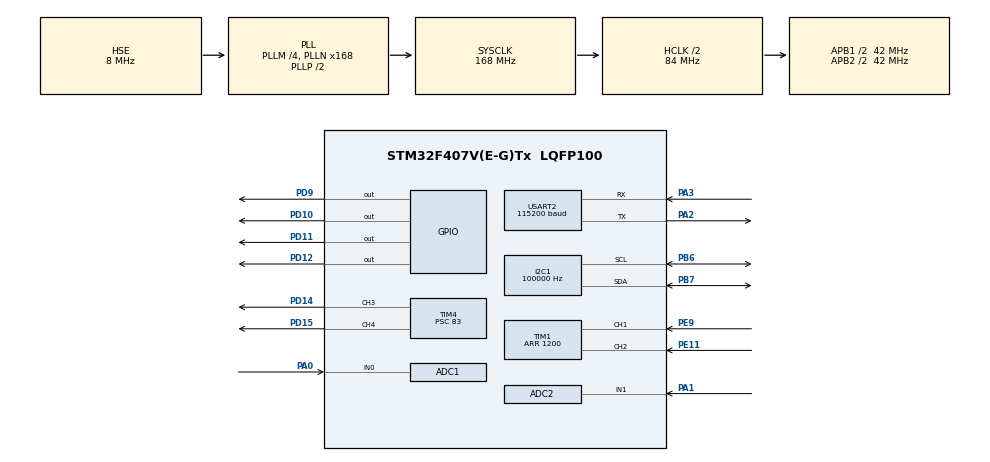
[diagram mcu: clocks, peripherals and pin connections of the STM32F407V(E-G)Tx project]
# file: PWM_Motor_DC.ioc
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ADC1.Channel-0\#ChannelRegularConversion=ADC_CHANNEL_0
ADC1.NbrOfConversionFlag=1
ADC1.Rank-0\#ChannelRegularConversion=1
ADC1.SamplingTime-0\#ChannelRegularConversion=ADC_SAMPLETIME_3CYCLES
ADC1.master=1
ADC2.Channel-1\#ChannelRegularConversion=ADC_CHANNEL_1
ADC2.NbrOfConversionFlag=1
ADC2.Rank-1\#ChannelRegularConversion=1
ADC2.SamplingTime-1\#ChannelRegularConversion=ADC_SAMPLETIME_3CYCLES
I2C1.ClockSpeed=100000
Mcu.Family=STM32F4
Mcu.Name=STM32F407V(E-G)Tx
Mcu.Package=LQFP100
NVIC.PriorityGroup=NVIC_PRIORITYGROUP_4
NVIC.TIM1_BRK_TIM9_IRQn=true\:0\:0\:false\:false\:true\:true\:true
NVIC.TIM3_IRQn=true\:0\:0\:false\:false\:true\:true\:true
NVIC.TIM4_IRQn=true\:0\:0\:false\:false\:true\:true\:true
NVIC.TIM6_DAC_IRQn=true\:0\:0\:false\:false\:true\:true\:true
NVIC.TIM7_IRQn=true\:0\:0\:false\:false\:true\:true\:true
NVIC.USART2_IRQn=true\:0\:0\:false\:false\:true\:true\:true
PA0-WKUP.Signal=ADCx_IN0
PA1.Signal=ADCx_IN1
PA2.GPIO_Speed=GPIO_SPEED_FREQ_HIGH
PA2.Mode=Asynchronous
PA2.Signal=USART2_TX
PA3.GPIO_Speed=GPIO_SPEED_FREQ_HIGH
PA3.Mode=Asynchronous
PA3.Signal=USART2_RX
PB6.Mode=I2C
PB6.Signal=I2C1_SCL
PB7.Mode=I2C
PB7.Signal=I2C1_SDA
PD10.GPIO_ModeDefaultOutputPP=GPIO_MODE_OUTPUT_OD
PD10.GPIO_PuPd=GPIO_PULLUP
PD10.GPIO_Speed=GPIO_SPEED_FREQ_HIGH
PD10.Signal=GPIO_Output
PD11.GPIO_ModeDefaultOutputPP=GPIO_MODE_OUTPUT_OD
PD11.GPIO_PuPd=GPIO_PULLUP
PD11.GPIO_Speed=GPIO_SPEED_FREQ_HIGH
PD11.Signal=GPIO_Output
PD12.GPIO_ModeDefaultOutputPP=GPIO_MODE_OUTPUT_OD
PD12.GPIO_PuPd=GPIO_PULLUP
PD12.GPIO_Speed=GPIO_SPEED_FREQ_HIGH
PD12.PinState=GPIO_PIN_SET
PD12.Signal=GPIO_Output
PD14.GPIO_PuPd=GPIO_PULLUP
PD14.GPIO_Speed=GPIO_SPEED_FREQ_HIGH
PD14.Signal=S_TIM4_CH3
PD15.GPIO_ModeDefaultPP=GPIO_MODE_AF_PP
PD15.GPIO_PuPd=GPIO_PULLUP
PD15.GPIO_Speed=GPIO_SPEED_FREQ_HIGH
PD15.Signal=S_TIM4_CH4
PD9.GPIO_ModeDefaultOutputPP=GPIO_MODE_OUTPUT_OD
PD9.GPIO_PuPd=GPIO_PULLUP
PD9.GPIO_Speed=GPIO_SPEED_FREQ_HIGH
PD9.PinState=GPIO_PIN_SET
PD9.Signal=GPIO_Output
PE11.GPIO_PuPd=GPIO_PULLUP
PE11.GPIO_Speed=GPIO_SPEED_FREQ_HIGH
PE11.Signal=S_TIM1_CH2
PE9.GPIO_PuPd=GPIO_PULLUP
PE9.GPIO_Speed=GPIO_SPEED_FREQ_HIGH
PE9.Signal=S_TIM1_CH1
PH0-OSC_IN.Mode=HSE-External-Oscillator
PH0-OSC_IN.Signal=RCC_OSC_IN
PH1-OSC_OUT.Mode=HSE-External-Oscillator
PH1-OSC_OUT.Signal=RCC_OSC_OUT
ProjectManager.HeapSize=0x200
ProjectManager.StackSize=0x400
ProjectManager.TargetToolchain=EWARM V7
RCC.48MHZClocksFreq_Value=84000000
RCC.AHBCLKDivider=RCC_SYSCLK_DIV2
RCC.AHBFreq_Value=84000000
RCC.APB1CLKDivider=RCC_HCLK_DIV2
RCC.APB1Freq_Value=42000000
RCC.APB1TimFreq_Value=84000000
RCC.APB2CLKDivider=RCC_HCLK_DIV2
RCC.APB2Freq_Value=42000000
RCC.APB2TimFreq_Value=84000000
RCC.CortexFreq_Value=10500000
RCC.Cortex_Div=SYSTICK_CLKSOURCE_HCLK_DIV8
RCC.HCLKFreq_Value=84000000
RCC.HSE_VALUE=8000000
RCC.HSI_VALUE=16000000
RCC.LSE_VALUE=32768
RCC.PLLM=4
RCC.PLLN=168
RCC.PLLSourceVirtual=RCC_PLLSOURCE_HSE
RCC.SYSCLKFreq_VALUE=168000000
RCC.SYSCLKSource=RCC_SYSCLKSOURCE_PLLCLK
RCC.VCOOutputFreq_Value=336000000
SH.ADCx_IN0.0=ADC1_IN0,IN0
SH.ADCx_IN1.0=ADC2_IN1,IN1
SH.S_TIM1_CH1.0=TIM1_CH1,Encoder_Interface
SH.S_TIM1_CH2.0=TIM1_CH2,Encoder_Interface
SH.S_TIM4_CH3.0=TIM4_CH3,PWM Generation3 CH3
SH.S_TIM4_CH4.0=TIM4_CH4,PWM Generation4 CH4
TIM1.Period=1200
TIM3.Period=5000
TIM3.Prescaler=8399
TIM4.Channel-PWM\ Generation3\ CH3=TIM_CHANNEL_3
TIM4.Channel-PWM\ Generation4\ CH4=TIM_CHANNEL_4
TIM4.Period=499
TIM4.Prescaler=83
TIM6.Period=999
TIM6.Prescaler=8399
TIM7.Period=99
TIM7.Prescaler=8399
TIM9.Period=9
TIM9.Prescaler=8399
USART2.BaudRate=115200
USART2.VirtualMode=VM_ASYNC
VP_TIM3_VS_ClockSourceINT.Mode=Internal
VP_TIM4_VS_ClockSourceINT.Mode=Internal
VP_TIM6_VS_ClockSourceINT.Mode=Enable_Timer
VP_TIM7_VS_ClockSourceINT.Mode=Enable_Timer
VP_TIM9_VS_ClockSourceINT.Mode=Internal
board=custom

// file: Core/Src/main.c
/* USER CODE BEGIN Header */

/**
 ******************************************************************************
 * @file           : main.c
 * @brief          : Main program body
 ******************************************************************************
 * @attention
 *
 * <h2><center>&copy; Copyright (c) 2021 STMicroelectronics.
 * All rights reserved.</center></h2>
 *
 * This software component is licensed by ST under BSD 3-Clause license,
 * the "License"; You may not use this file except in compliance with the
 * License. You may obtain a copy of the License at:
 *                        opensource.org/licenses/BSD-3-Clause
 *
 ******************************************************************************
 */
/* USER CODE END Header */
#include "main.h"

/* USER CODE BEGIN Includes */
#include "stdio.h"
#include "string.h"
#include "stdlib.h"
#include "uart_tx_rx.h"
/* USER CODE END Includes */

/* USER CODE BEGIN PD */
#define LCD_ADDR        (0x27 << 1)

#define PIN_RS          (1 << 0)
#define PIN_EN          (1 << 2)
#define BACKLIGHT       (1 << 3)

#define LCD_DELAY_MS    5
/* USER CODE END PD */

ADC_HandleTypeDef hadc1;
ADC_HandleTypeDef hadc2;

I2C_HandleTypeDef hi2c1;

TIM_HandleTypeDef htim1;
TIM_HandleTypeDef htim3;
TIM_HandleTypeDef htim4;
TIM_HandleTypeDef htim6;
TIM_HandleTypeDef htim7;
TIM_HandleTypeDef htim9;

UART_HandleTypeDef huart2;

/* USER CODE BEGIN PV */
extern uint8_t command[3];
/* USER CODE END PV */

void SystemClock_Config(void);
static void MX_GPIO_Init(void);
static void MX_TIM4_Init(void);
static void MX_ADC1_Init(void);
static void MX_TIM7_Init(void);
static void MX_I2C1_Init(void);
static void MX_TIM3_Init(void);
static void MX_USART2_UART_Init(void);
static void MX_TIM6_Init(void);
static void MX_TIM1_Init(void);
static void MX_ADC2_Init(void);
static void MX_TIM9_Init(void);

/* USER CODE BEGIN 0 */
void I2C_send(uint8_t data, uint8_t flags)
{
   HAL_StatusTypeDef res;

   for ( ; ;)
   {
      res = HAL_I2C_IsDeviceReady(&hi2c1, LCD_ADDR, 1, HAL_MAX_DELAY);
      if (res == HAL_OK)
      {
         break;
      }
   }
   uint8_t up = data & 0xF0;
   uint8_t lo = (data << 4) & 0xF0;
   uint8_t data_arr[4];
   data_arr[0] = up | flags | BACKLIGHT | PIN_EN;
   data_arr[1] = up | flags | BACKLIGHT;
   data_arr[2] = lo | flags | BACKLIGHT | PIN_EN;
   data_arr[3] = lo | flags | BACKLIGHT;
   HAL_I2C_Master_Transmit(&hi2c1, LCD_ADDR, data_arr, sizeof(data_arr),
                           HAL_MAX_DELAY);
}

void LCD_SendString(char *str)
{
   while (*str)
   {
      I2C_send((uint8_t)(*str), 1);
      str++;
   }
}

/* USER CODE END 0 */

int main(void)
{

  /* MCU Configuration--------------------------------------------------------*/

  /* Reset of all peripherals, Initializes the Flash interface and the Systick. */
  HAL_Init();

  /* Configure the system clock */
  SystemClock_Config();

  /* Initialize all configured peripherals */
  MX_GPIO_Init();
  MX_TIM4_Init();
  MX_ADC1_Init();
  MX_TIM7_Init();
  MX_I2C1_Init();
  MX_TIM3_Init();
  MX_USART2_UART_Init();
  MX_TIM6_Init();
  MX_TIM1_Init();
  MX_ADC2_Init();
  MX_TIM9_Init();
  /* USER CODE BEGIN 2 */
   //HAL_TIM_Base_Start_IT(&htim3);
   HAL_TIM_PWM_Start(&htim4, TIM_CHANNEL_3);
   HAL_TIM_PWM_Start(&htim4, TIM_CHANNEL_4);
   HAL_TIM_Base_Start_IT(&htim6);
   HAL_TIM_Base_Start_IT(&htim7);
   HAL_TIM_Base_Start_IT(&htim9);
   //HAL_TIM_Encoder_Start(&htim1, TIM_CHANNEL_1);
  /* USER CODE END 2 */

  /* Infinite loop */
  /* USER CODE BEGIN WHILE */
   HAL_UART_Receive_IT(&huart2, (uint8_t *)command, 2);
   /* USER CODE END 2 */
   while (1)
   {
    /* USER CODE END WHILE */

    /* USER CODE BEGIN 3 */
     //printf("%d\r\n", TIM1->CNT);
   }
  /* USER CODE END 3 */
}

void SystemClock_Config(void)
{
  RCC_OscInitTypeDef RCC_OscInitStruct = {0};
  RCC_ClkInitTypeDef RCC_ClkInitStruct = {0};

  /** Configure the main internal regulator output voltage
  */
  __HAL_RCC_PWR_CLK_ENABLE();
  __HAL_PWR_VOLTAGESCALING_CONFIG(PWR_REGULATOR_VOLTAGE_SCALE1);
  /** Initializes the RCC Oscillators according to the specified parameters
  * in the RCC_OscInitTypeDef structure.
  */
  RCC_OscInitStruct.OscillatorType = RCC_OSCILLATORTYPE_HSE;
  RCC_OscInitStruct.HSEState = RCC_HSE_ON;
  RCC_OscInitStruct.PLL.PLLState = RCC_PLL_ON;
  RCC_OscInitStruct.PLL.PLLSource = RCC_PLLSOURCE_HSE;
  RCC_OscInitStruct.PLL.PLLM = 4;
  RCC_OscInitStruct.PLL.PLLN = 168;
  RCC_OscInitStruct.PLL.PLLP = RCC_PLLP_DIV2;
  RCC_OscInitStruct.PLL.PLLQ = 4;
  if (HAL_RCC_OscConfig(&RCC_OscInitStruct) != HAL_OK)
  {
    Error_Handler();
  }
  /** Initializes the CPU, AHB and APB buses clocks
  */
  RCC_ClkInitStruct.ClockType = RCC_CLOCKTYPE_HCLK|RCC_CLOCKTYPE_SYSCLK
                              |RCC_CLOCKTYPE_PCLK1|RCC_CLOCKTYPE_PCLK2;
  RCC_ClkInitStruct.SYSCLKSource = RCC_SYSCLKSOURCE_PLLCLK;
  RCC_ClkInitStruct.AHBCLKDivider = RCC_SYSCLK_DIV2;
  RCC_ClkInitStruct.APB1CLKDivider = RCC_HCLK_DIV2;
  RCC_ClkInitStruct.APB2CLKDivider = RCC_HCLK_DIV2;

  if (HAL_RCC_ClockConfig(&RCC_ClkInitStruct, FLASH_LATENCY_2) != HAL_OK)
  {
    Error_Handler();
  }
}

static void MX_ADC1_Init(void)
{

  ADC_ChannelConfTypeDef sConfig = {0};

  /** Configure the global features of the ADC (Clock, Resolution, Data Alignment and number of conversion)
  */
  hadc1.Instance = ADC1;
  hadc1.Init.ClockPrescaler = ADC_CLOCK_SYNC_PCLK_DIV2;
  hadc1.Init.Resolution = ADC_RESOLUTION_12B;
  hadc1.Init.ScanConvMode = DISABLE;
  hadc1.Init.ContinuousConvMode = DISABLE;
  hadc1.Init.DiscontinuousConvMode = DISABLE;
  hadc1.Init.ExternalTrigConvEdge = ADC_EXTERNALTRIGCONVEDGE_NONE;
  hadc1.Init.ExternalTrigConv = ADC_SOFTWARE_START;
  hadc1.Init.DataAlign = ADC_DATAALIGN_RIGHT;
  hadc1.Init.NbrOfConversion = 1;
  hadc1.Init.DMAContinuousRequests = DISABLE;
  hadc1.Init.EOCSelection = ADC_EOC_SINGLE_CONV;
  if (HAL_ADC_Init(&hadc1) != HAL_OK)
  {
    Error_Handler();
  }
  /** Configure for the selected ADC regular channel its corresponding rank in the sequencer and its sample time.
  */
  sConfig.Channel = ADC_CHANNEL_0;
  sConfig.Rank = 1;
  sConfig.SamplingTime = ADC_SAMPLETIME_3CYCLES;
  if (HAL_ADC_ConfigChannel(&hadc1, &sConfig) != HAL_OK)
  {
    Error_Handler();
  }

}

static void MX_ADC2_Init(void)
{

  ADC_ChannelConfTypeDef sConfig = {0};

  /** Configure the global features of the ADC (Clock, Resolution, Data Alignment and number of conversion)
  */
  hadc2.Instance = ADC2;
  hadc2.Init.ClockPrescaler = ADC_CLOCK_SYNC_PCLK_DIV2;
  hadc2.Init.Resolution = ADC_RESOLUTION_12B;
  hadc2.Init.ScanConvMode = DISABLE;
  hadc2.Init.ContinuousConvMode = DISABLE;
  hadc2.Init.DiscontinuousConvMode = DISABLE;
  hadc2.Init.ExternalTrigConvEdge = ADC_EXTERNALTRIGCONVEDGE_NONE;
  hadc2.Init.ExternalTrigConv = ADC_SOFTWARE_START;
  hadc2.Init.DataAlign = ADC_DATAALIGN_RIGHT;
  hadc2.Init.NbrOfConversion = 1;
  hadc2.Init.DMAContinuousRequests = DISABLE;
  hadc2.Init.EOCSelection = ADC_EOC_SINGLE_CONV;
  if (HAL_ADC_Init(&hadc2) != HAL_OK)
  {
    Error_Handler();
  }
  /** Configure for the selected ADC regular channel its corresponding rank in the sequencer and its sample time.
  */
  sConfig.Channel = ADC_CHANNEL_1;
  sConfig.Rank = 1;
  sConfig.SamplingTime = ADC_SAMPLETIME_3CYCLES;
  if (HAL_ADC_ConfigChannel(&hadc2, &sConfig) != HAL_OK)
  {
    Error_Handler();
  }

}

static void MX_I2C1_Init(void)
{

  hi2c1.Instance = I2C1;
  hi2c1.Init.ClockSpeed = 100000;
  hi2c1.Init.DutyCycle = I2C_DUTYCYCLE_2;
  hi2c1.Init.OwnAddress1 = 0;
  hi2c1.Init.AddressingMode = I2C_ADDRESSINGMODE_7BIT;
  hi2c1.Init.DualAddressMode = I2C_DUALADDRESS_DISABLE;
  hi2c1.Init.OwnAddress2 = 0;
  hi2c1.Init.GeneralCallMode = I2C_GENERALCALL_DISABLE;
  hi2c1.Init.NoStretchMode = I2C_NOSTRETCH_DISABLE;
  if (HAL_I2C_Init(&hi2c1) != HAL_OK)
  {
    Error_Handler();
  }

}

static void MX_TIM1_Init(void)
{

  TIM_Encoder_InitTypeDef sConfig = {0};
  TIM_MasterConfigTypeDef sMasterConfig = {0};

  htim1.Instance = TIM1;
  htim1.Init.Prescaler = 0;
  htim1.Init.CounterMode = TIM_COUNTERMODE_UP;
  htim1.Init.Period = 1200;
  htim1.Init.ClockDivision = TIM_CLOCKDIVISION_DIV1;
  htim1.Init.RepetitionCounter = 0;
  htim1.Init.AutoReloadPreload = TIM_AUTORELOAD_PRELOAD_DISABLE;
  sConfig.EncoderMode = TIM_ENCODERMODE_TI1;
  sConfig.IC1Polarity = TIM_ICPOLARITY_RISING;
  sConfig.IC1Selection = TIM_ICSELECTION_DIRECTTI;
  sConfig.IC1Prescaler = TIM_ICPSC_DIV1;
  sConfig.IC1Filter = 0;
  sConfig.IC2Polarity = TIM_ICPOLARITY_RISING;
  sConfig.IC2Selection = TIM_ICSELECTION_DIRECTTI;
  sConfig.IC2Prescaler = TIM_ICPSC_DIV1;
  sConfig.IC2Filter = 0;
  if (HAL_TIM_Encoder_Init(&htim1, &sConfig) != HAL_OK)
  {
    Error_Handler();
  }
  sMasterConfig.MasterOutputTrigger = TIM_TRGO_RESET;
  sMasterConfig.MasterSlaveMode = TIM_MASTERSLAVEMODE_DISABLE;
  if (HAL_TIMEx_MasterConfigSynchronization(&htim1, &sMasterConfig) != HAL_OK)
  {
    Error_Handler();
  }

}

static void MX_TIM3_Init(void)
{

  TIM_ClockConfigTypeDef sClockSourceConfig = {0};
  TIM_MasterConfigTypeDef sMasterConfig = {0};

  htim3.Instance = TIM3;
  htim3.Init.Prescaler = 8399;
  htim3.Init.CounterMode = TIM_COUNTERMODE_UP;
  htim3.Init.Period = 5000;
  htim3.Init.ClockDivision = TIM_CLOCKDIVISION_DIV1;
  htim3.Init.AutoReloadPreload = TIM_AUTORELOAD_PRELOAD_DISABLE;
  if (HAL_TIM_Base_Init(&htim3) != HAL_OK)
  {
    Error_Handler();
  }
  sClockSourceConfig.ClockSource = TIM_CLOCKSOURCE_INTERNAL;
  if (HAL_TIM_ConfigClockSource(&htim3, &sClockSourceConfig) != HAL_OK)
  {
    Error_Handler();
  }
  sMasterConfig.MasterOutputTrigger = TIM_TRGO_RESET;
  sMasterConfig.MasterSlaveMode = TIM_MASTERSLAVEMODE_DISABLE;
  if (HAL_TIMEx_MasterConfigSynchronization(&htim3, &sMasterConfig) != HAL_OK)
  {
    Error_Handler();
  }

}

static void MX_TIM4_Init(void)
{

  TIM_ClockConfigTypeDef sClockSourceConfig = {0};
  TIM_MasterConfigTypeDef sMasterConfig = {0};
  TIM_OC_InitTypeDef sConfigOC = {0};

  htim4.Instance = TIM4;
  htim4.Init.Prescaler = 83;
  htim4.Init.CounterMode = TIM_COUNTERMODE_UP;
  htim4.Init.Period = 499;
  htim4.Init.ClockDivision = TIM_CLOCKDIVISION_DIV1;
  htim4.Init.AutoReloadPreload = TIM_AUTORELOAD_PRELOAD_DISABLE;
  if (HAL_TIM_Base_Init(&htim4) != HAL_OK)
  {
    Error_Handler();
  }
  sClockSourceConfig.ClockSource = TIM_CLOCKSOURCE_INTERNAL;
  if (HAL_TIM_ConfigClockSource(&htim4, &sClockSourceConfig) != HAL_OK)
  {
    Error_Handler();
  }
  if (HAL_TIM_PWM_Init(&htim4) != HAL_OK)
  {
    Error_Handler();
  }
  sMasterConfig.MasterOutputTrigger = TIM_TRGO_RESET;
  sMasterConfig.MasterSlaveMode = TIM_MASTERSLAVEMODE_DISABLE;
  if (HAL_TIMEx_MasterConfigSynchronization(&htim4, &sMasterConfig) != HAL_OK)
  {
    Error_Handler();
  }
  sConfigOC.OCMode = TIM_OCMODE_PWM1;
  sConfigOC.Pulse = 0;
  sConfigOC.OCPolarity = TIM_OCPOLARITY_HIGH;
  sConfigOC.OCFastMode = TIM_OCFAST_DISABLE;
  if (HAL_TIM_PWM_ConfigChannel(&htim4, &sConfigOC, TIM_CHANNEL_3) != HAL_OK)
  {
    Error_Handler();
  }
  if (HAL_TIM_PWM_ConfigChannel(&htim4, &sConfigOC, TIM_CHANNEL_4) != HAL_OK)
  {
    Error_Handler();
  }
  HAL_TIM_MspPostInit(&htim4);

}

static void MX_TIM6_Init(void)
{

  TIM_MasterConfigTypeDef sMasterConfig = {0};

  htim6.Instance = TIM6;
  htim6.Init.Prescaler = 8399;
  htim6.Init.CounterMode = TIM_COUNTERMODE_UP;
  htim6.Init.Period = 999;
  htim6.Init.AutoReloadPreload = TIM_AUTORELOAD_PRELOAD_DISABLE;
  if (HAL_TIM_Base_Init(&htim6) != HAL_OK)
  {
    Error_Handler();
  }
  sMasterConfig.MasterOutputTrigger = TIM_TRGO_RESET;
  sMasterConfig.MasterSlaveMode = TIM_MASTERSLAVEMODE_DISABLE;
  if (HAL_TIMEx_MasterConfigSynchronization(&htim6, &sMasterConfig) != HAL_OK)
  {
    Error_Handler();
  }

}

static void MX_TIM7_Init(void)
{

  TIM_MasterConfigTypeDef sMasterConfig = {0};

  htim7.Instance = TIM7;
  htim7.Init.Prescaler = 8399;
  htim7.Init.CounterMode = TIM_COUNTERMODE_UP;
  htim7.Init.Period = 99;
  htim7.Init.AutoReloadPreload = TIM_AUTORELOAD_PRELOAD_DISABLE;
  if (HAL_TIM_Base_Init(&htim7) != HAL_OK)
  {
    Error_Handler();
  }
  sMasterConfig.MasterOutputTrigger = TIM_TRGO_RESET;
  sMasterConfig.MasterSlaveMode = TIM_MASTERSLAVEMODE_DISABLE;
  if (HAL_TIMEx_MasterConfigSynchronization(&htim7, &sMasterConfig) != HAL_OK)
  {
    Error_Handler();
  }

}

static void MX_TIM9_Init(void)
{

  TIM_ClockConfigTypeDef sClockSourceConfig = {0};

  htim9.Instance = TIM9;
  htim9.Init.Prescaler = 8399;
  htim9.Init.CounterMode = TIM_COUNTERMODE_UP;
  htim9.Init.Period = 9;
  htim9.Init.ClockDivision = TIM_CLOCKDIVISION_DIV1;
  htim9.Init.AutoReloadPreload = TIM_AUTORELOAD_PRELOAD_DISABLE;
  if (HAL_TIM_Base_Init(&htim9) != HAL_OK)
  {
    Error_Handler();
  }
  sClockSourceConfig.ClockSource = TIM_CLOCKSOURCE_INTERNAL;
  if (HAL_TIM_ConfigClockSource(&htim9, &sClockSourceConfig) != HAL_OK)
  {
    Error_Handler();
  }

}

static void MX_USART2_UART_Init(void)
{

  huart2.Instance = USART2;
  huart2.Init.BaudRate = 115200;
  huart2.Init.WordLength = UART_WORDLENGTH_8B;
  huart2.Init.StopBits = UART_STOPBITS_1;
  huart2.Init.Parity = UART_PARITY_NONE;
  huart2.Init.Mode = UART_MODE_TX_RX;
  huart2.Init.HwFlowCtl = UART_HWCONTROL_NONE;
  huart2.Init.OverSampling = UART_OVERSAMPLING_16;
  if (HAL_UART_Init(&huart2) != HAL_OK)
  {
    Error_Handler();
  }

}

static void MX_GPIO_Init(void)
{
  GPIO_InitTypeDef GPIO_InitStruct = {0};

  /* GPIO Ports Clock Enable */
  __HAL_RCC_GPIOH_CLK_ENABLE();
  __HAL_RCC_GPIOA_CLK_ENABLE();
  __HAL_RCC_GPIOE_CLK_ENABLE();
  __HAL_RCC_GPIOD_CLK_ENABLE();
  __HAL_RCC_GPIOB_CLK_ENABLE();

  /*Configure GPIO pin Output Level */
  HAL_GPIO_WritePin(GPIOD, GPIO_PIN_9|GPIO_PIN_12, GPIO_PIN_SET);

  /*Configure GPIO pin Output Level */
  HAL_GPIO_WritePin(GPIOD, GPIO_PIN_10|GPIO_PIN_11, GPIO_PIN_RESET);

  /*Configure GPIO pins : PD9 PD10 PD11 PD12 */
  GPIO_InitStruct.Pin = GPIO_PIN_9|GPIO_PIN_10|GPIO_PIN_11|GPIO_PIN_12;
  GPIO_InitStruct.Mode = GPIO_MODE_OUTPUT_OD;
  GPIO_InitStruct.Pull = GPIO_PULLUP;
  GPIO_InitStruct.Speed = GPIO_SPEED_FREQ_HIGH;
  HAL_GPIO_Init(GPIOD, &GPIO_InitStruct);

}

void Error_Handler(void)
{
   __disable_irq();
   while (1)
   {
   }
}

#ifdef  USE_FULL_ASSERT
/**
  * @brief  Reports the name of the source file and the source line number
  *         where the assert_param error has occurred.
  * @param  file: pointer to the source file name
  * @param  line: assert_param error line source number
  * @retval None
  */
void assert_failed(uint8_t *file, uint32_t line)
{
  /* USER CODE BEGIN 6 */

   /* User can add his own implementation to report the file name and line number,
    * ex: printf("Wrong parameters value: file %s on line %d\r\n", file, line) */
  /* USER CODE END 6 */
}
#endif /* USE_FULL_ASSERT */
